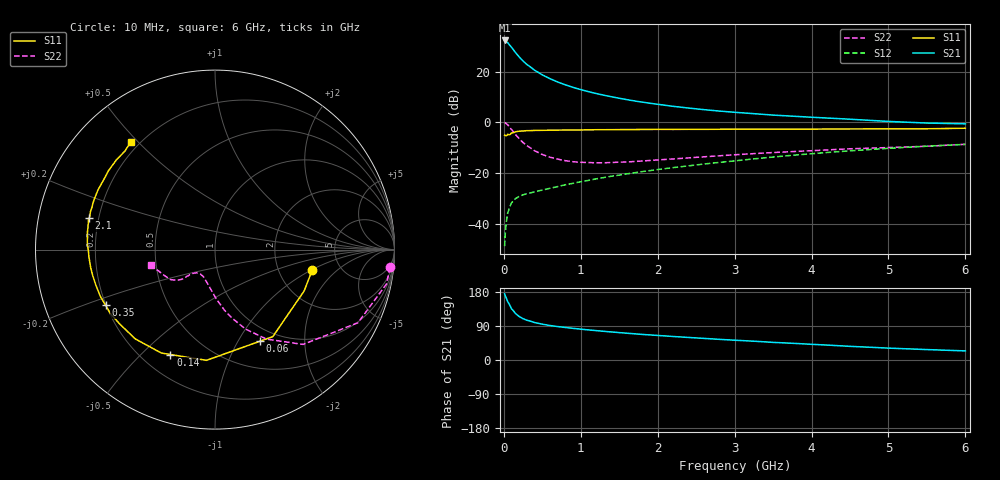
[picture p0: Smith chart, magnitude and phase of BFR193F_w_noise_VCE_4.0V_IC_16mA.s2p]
! Infineon Technologies  Discrete & RF Semiconductors
! BFR193F
! VCE =  4.0 V,  IC =  16 mA
! Common Emitter S-Parameters:  Jan 2017
# GHz  S  MA  R  50
!  f  S11  S21  S12  S22
! GHz  MAG  ANG  MAG  ANG  MAG  ANG  MAG  ANG
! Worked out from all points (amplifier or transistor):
!   77 points, 10 MHz to 6 GHz, reference 50 ohm
!   highest |S21| = 32.3 dB at 10 MHz (marker M1)
!   |S21| within 3 dB of that: start of sweep to 108 MHz
!   unconditionally stable (mu >= 1): 1.38 GHz to 2.808 GHz
!   at 130 MHz: K = 0.25, MSG = 29.6 dB, |S12| = -30.8 dB
!   at 2.2 GHz: K = 1.03, MAG = 11.0 dB, |S12| = -17.9 dB
!   at 6 GHz: K = 0.84, MSG = 4.1 dB, |S12| = -8.7 dB
!   lowest NFmin = 0.97 dB at 450 MHz
!   S11 on the Smith chart (normalised r, x): 10 MHz: 3.12, -1.02; 60 MHz: 0.82, -1.24; 140 MHz: 0.31, -0.62; 350 MHz: 0.20, -0.23; 2.1 GHz: 0.16, +0.12; 6 GHz: 0.17, +0.48
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0.01  0.5538 -11.8  41.01 174.8  0.0036 89.3  0.9808 -5.8
0.02  0.5475 -24.9  40.44 168.9  0.0069 82.0  0.9742 -11.4
0.05  0.5821 -56.4  37.3 154.1  0.0161 68.9  0.8946 -27.1
0.06  0.5683 -64.1  35.59 150.9  0.0179 65.1  0.8526 -30.4
0.1  0.6188 -94.4  30.11 135.0  0.0258 55.7  0.7209 -47.1
0.14  0.635 -113.0  25.01 125.8  0.03 48.9  0.6015 -57.0
0.15  0.6491 -117.4  23.86 122.9  0.0311 47.5  0.5752 -60.1
0.2  0.6669 -131.7  19.36 114.7  0.0346 44.1  0.4743 -69.0
0.25  0.6729 -141.6  16.1 109.0  0.037 42.7  0.3972 -75.6
0.3  0.683 -148.3  13.77 104.9  0.0391 43.1  0.3452 -80.8
0.35  0.6841 -153.0  12.17 102.2  0.0407 43.7  0.3089 -84.3
0.4  0.6899 -157.7  10.6 98.7  0.0424 44.3  0.274 -88.6
0.5  0.6929 -163.6  8.588 94.5  0.046 46.7  0.2313 -94.5
0.6  0.6967 -168.2  7.223 91.0  0.0498 49.2  0.2042 -99.8
0.8  0.7013 -174.5  5.458 85.8  0.0585 53.7  0.1746 -108.6
1.1  0.7084 179.0  4.011 79.4  0.0715 59.4  0.1606 -118.0
1.5  0.7168 173.0  2.974 72.3  0.0908 63.9  0.1632 -126.6
2.1  0.7229 165.9  2.159 63.5  0.1221 67.6  0.1848 -133.4
3.1  0.7291 156.7  1.533 51.2  0.1795 69.2  0.2331 -137.1
4.1  0.7328 147.2  1.233 40.4  0.2461 67.2  0.2794 -142.5
5.1  0.7423 136.7  1.023 30.6  0.3119 62.3  0.3208 -154.4
6  0.762 127.9  0.93 24.0  0.3659 57.2  0.3678 -166.1
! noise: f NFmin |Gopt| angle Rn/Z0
0.45  0.97  0.28  157  0.06
0.9  1.06  0.38  161  0.06
1.9  1.7  0.58  -173  0.06
2.4  2  0.61  -163  0.09
